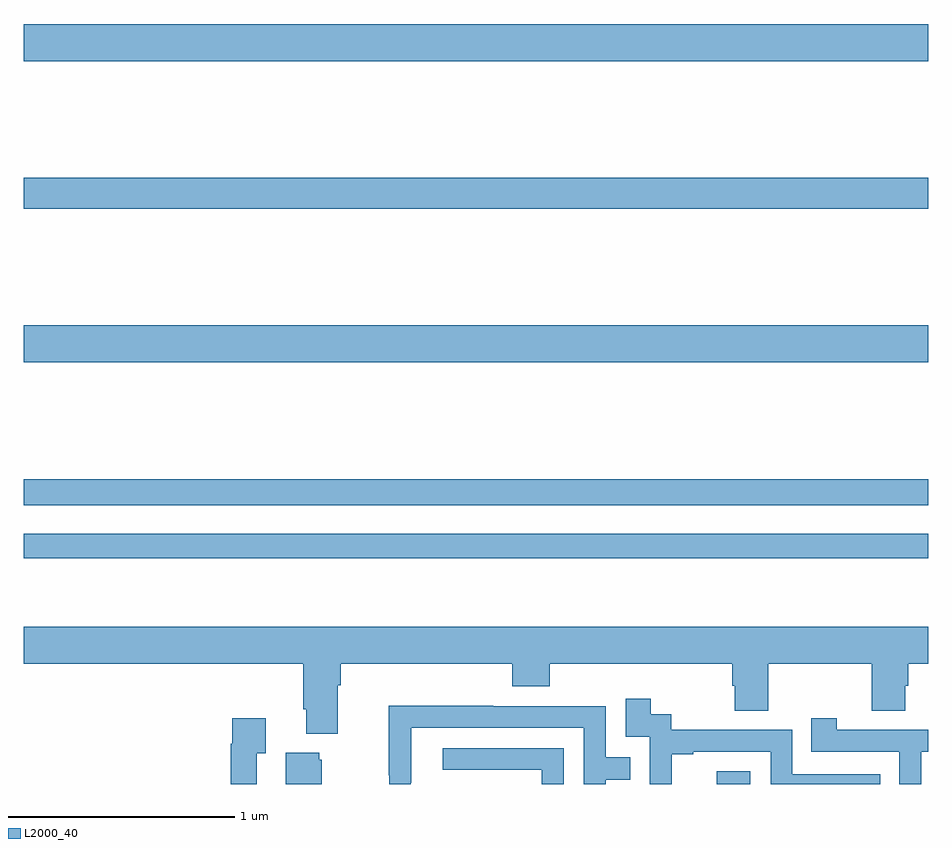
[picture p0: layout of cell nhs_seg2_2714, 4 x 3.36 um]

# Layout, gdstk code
import gdstk
lib = gdstk.Library(unit=1e-6, precision=1e-09)
def R(c, l, rs):  # rectangles x0, y0, x1, y1
    for r in rs: c.add(gdstk.rectangle(r[:2], r[2:], *l))
def P(c, l, *ps):  # polygons
    for p in ps: c.add(gdstk.Polygon(p, *l))
L2000_40 = (2000, 40)

nhs_seg2_2714 = lib.new_cell('nhs_seg2_2714')
R(nhs_seg2_2714, L2000_40, [(256.065,617.8,256.212,617.857), (253,618.798,257,618.906), (253,619.032,257,619.148), (253,619.664,257,619.828), (253,620.344,257,620.48), (253,620.996,257,621.16)])
P(nhs_seg2_2714, L2000_40, [(254.389,618.236),(254.402,618.236),(254.402,618.332),(255.161,618.332),(255.161,618.233),(255.326,618.233),(255.326,618.332),(256.133,618.332),(256.133,618.234),(256.145,618.234),(256.145,618.124),(256.293,618.124),(256.293,618.332),(256.75,618.332),(256.75,618.124),(256.897,618.124),(256.897,618.234),(256.91,618.234),(256.91,618.332),(257,618.332),(257,618.496),(253,618.496),(253,618.332),(254.237,618.332),(254.237,618.13),(254.249,618.13),(254.249,618.023),(254.389,618.023)],
  [(255.866,617.931),(255.961,617.931),(255.961,617.943),(256.302,617.943),(256.302,617.8),(256.787,617.8),(256.787,617.844),(256.398,617.844),(256.398,618.039),(255.864,618.039),(255.864,618.108),(255.772,618.108),(255.772,618.178),(255.663,618.178),(255.663,618.009),(255.768,618.009),(255.768,617.8),(255.866,617.8)],
  [(254.712,617.806),(254.713,617.806),(254.713,618.048),(255.477,618.048),(255.477,617.8),(255.573,617.8),(255.573,617.818),(255.683,617.818),(255.683,617.919),(255.573,617.919),(255.573,618.144),(255.077,618.144),(255.077,618.146),(254.614,618.146),(254.614,617.839),(254.616,617.839),(254.616,617.8),(254.712,617.8)],
  [(254.031,617.935),(254.071,617.935),(254.071,618.091),(253.923,618.091),(253.923,617.978),(253.915,617.978),(253.915,617.8),(254.031,617.8)],
  [(256.968,617.943),(257,617.943),(257,618.039),(256.594,618.039),(256.594,618.091),(256.483,618.091),(256.483,617.943),(256.872,617.943),(256.872,617.8),(256.968,617.8)],
  [(255.387,617.958),(254.853,617.958),(254.853,617.862),(255.291,617.862),(255.291,617.8),(255.387,617.8)],
  [(254.317,617.907),(254.306,617.907),(254.306,617.938),(254.159,617.938),(254.159,617.8),(254.317,617.8)])

lib.write_gds('nhs_seg2_2714.gds')
